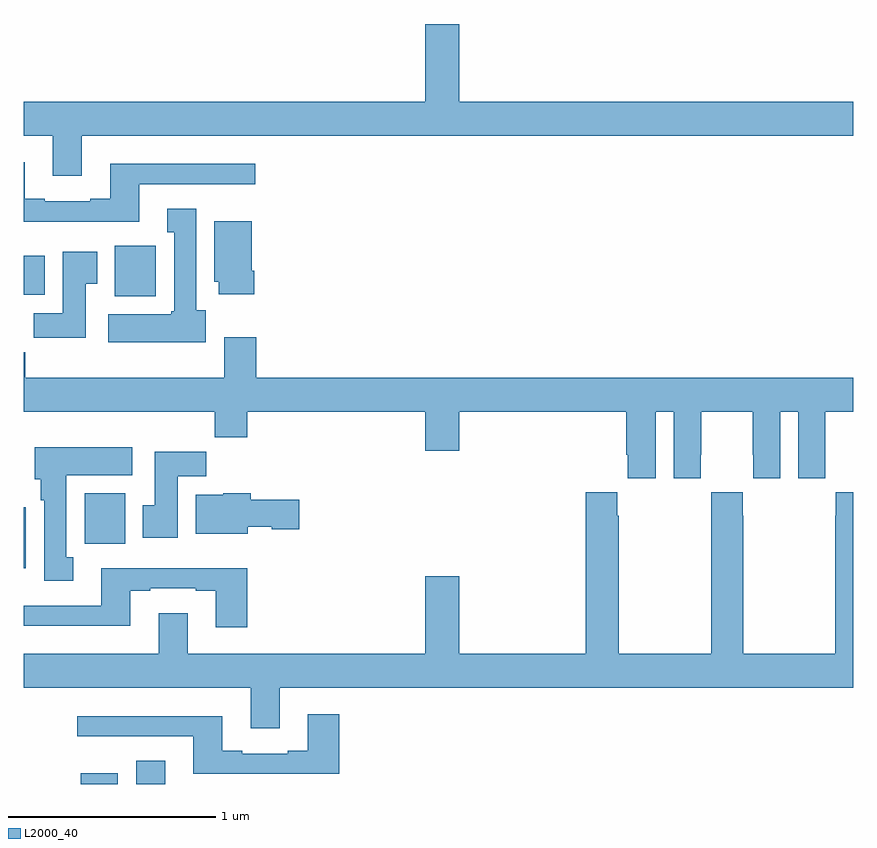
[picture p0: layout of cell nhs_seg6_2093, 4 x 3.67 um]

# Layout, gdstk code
import gdstk
lib = gdstk.Library(unit=1e-6, precision=1e-09)
def R(c, l, rs):  # rectangles x0, y0, x1, y1
    for r in rs: c.add(gdstk.rectangle(r[:2], r[2:], *l))
def P(c, l, *ps):  # polygons
    for p in ps: c.add(gdstk.Polygon(p, *l))
L2000_40 = (2000, 40)

nhs_seg6_2093 = lib.new_cell('nhs_seg6_2093')
R(nhs_seg6_2093, L2000_40, [(235.274,985.5,235.453,985.552), (235.541,985.5,235.681,985.612), (235,986.54,235.009,986.836), (235.292,986.66,235.489,986.902), (235.439,987.854,235.636,988.096), (235,987.86,235.099,988.048)])
P(nhs_seg6_2093, L2000_40, [(235.279,988.628),(239,988.628),(239,988.792),(237.1,988.792),(237.1,989.167),(236.936,989.167),(236.936,988.792),(235,988.792),(235,988.628),(235.139,988.628),(235.139,988.434),(235.279,988.434)],
  [(235.555,988.395),(236.116,988.395),(236.116,988.492),(235.415,988.492),(235.415,988.324),(235.319,988.324),(235.319,988.311),(235.099,988.311),(235.099,988.324),(235.003,988.324),(235.003,988.501),(235,988.501),(235,988.214),(235.555,988.214)],
  [(235.876,987.786),(235.831,987.786),(235.831,988.276),(235.691,988.276),(235.691,988.163),(235.724,988.163),(235.724,987.78),(235.711,987.78),(235.711,987.766),(235.407,987.766),(235.407,987.632),(235.876,987.632)],
  [(236.111,987.976),(236.098,987.976),(236.098,988.216),(235.919,988.216),(235.919,987.924),(235.94,987.924),(235.94,987.864),(236.111,987.864)],
  [(235.297,987.913),(235.354,987.913),(235.354,988.069),(235.187,988.069),(235.187,987.772),(235.048,987.772),(235.048,987.654),(235.297,987.654)],
  [(238.048,987.296),(238.136,987.296),(238.136,986.976),(238.266,986.976),(238.266,987.088),(238.267,987.088),(238.267,987.296),(238.517,987.296),(238.517,987.088),(238.518,987.088),(238.518,986.976),(238.648,986.976),(238.648,987.296),(238.736,987.296),(238.736,986.976),(238.866,986.976),(238.866,987.088),(238.867,987.088),(238.867,987.296),(239,987.296),(239,987.46),(236.12,987.46),(236.12,987.655),(235.967,987.655),(235.967,987.46),(235.007,987.46),(235.007,987.584),(235,987.584),(235,987.296),(235.921,987.296),(235.921,987.172),(236.078,987.172),(236.078,987.296),(236.936,987.296),(236.936,987.108),(237.1,987.108),(237.1,987.296),(237.905,987.296),(237.905,987.088),(237.914,987.088),(237.914,986.976),(238.048,986.976)],
  [(235.237,986.594),(235.204,986.594),(235.204,986.99),(235.522,986.99),(235.522,987.124),(235.052,987.124),(235.052,986.97),(235.082,986.97),(235.082,986.87),(235.097,986.87),(235.097,986.481),(235.237,986.481)],
  [(235.741,986.984),(235.88,986.984),(235.88,987.103),(235.631,987.103),(235.631,986.844),(235.574,986.844),(235.574,986.688),(235.741,986.688)],
  [(236.233,985.964),(239,985.964),(239,986.908),(238.917,986.908),(238.917,986.795),(238.915,986.795),(238.915,986.128),(238.47,986.128),(238.47,986.795),(238.467,986.795),(238.467,986.908),(238.317,986.908),(238.317,986.795),(238.315,986.795),(238.315,986.128),(237.87,986.128),(237.87,986.795),(237.863,986.795),(237.863,986.908),(237.71,986.908),(237.71,986.128),(237.1,986.128),(237.1,986.503),(236.936,986.503),(236.936,986.128),(235.789,986.128),(235.789,986.323),(235.649,986.323),(235.649,986.128),(235,986.128),(235,985.964),(236.093,985.964),(236.093,985.77),(236.233,985.77)],
  [(236.08,986.741),(236.196,986.741),(236.196,986.729),(236.329,986.729),(236.329,986.871),(236.093,986.871),(236.093,986.902),(235.962,986.902),(235.962,986.896),(235.829,986.896),(235.829,986.708),(236.08,986.708)],
  [(236.078,986.542),(235.373,986.542),(235.373,986.361),(235,986.361),(235,986.264),(235.513,986.264),(235.513,986.433),(235.609,986.433),(235.609,986.445),(235.829,986.445),(235.829,986.433),(235.925,986.433),(235.925,986.256),(236.078,986.256)],
  [(236.522,985.837),(236.369,985.837),(236.369,985.66),(236.273,985.66),(236.273,985.647),(236.053,985.647),(236.053,985.66),(235.957,985.66),(235.957,985.828),(235.257,985.828),(235.257,985.731),(235.817,985.731),(235.817,985.55),(236.522,985.55)])

lib.write_gds('nhs_seg6_2093.gds')
